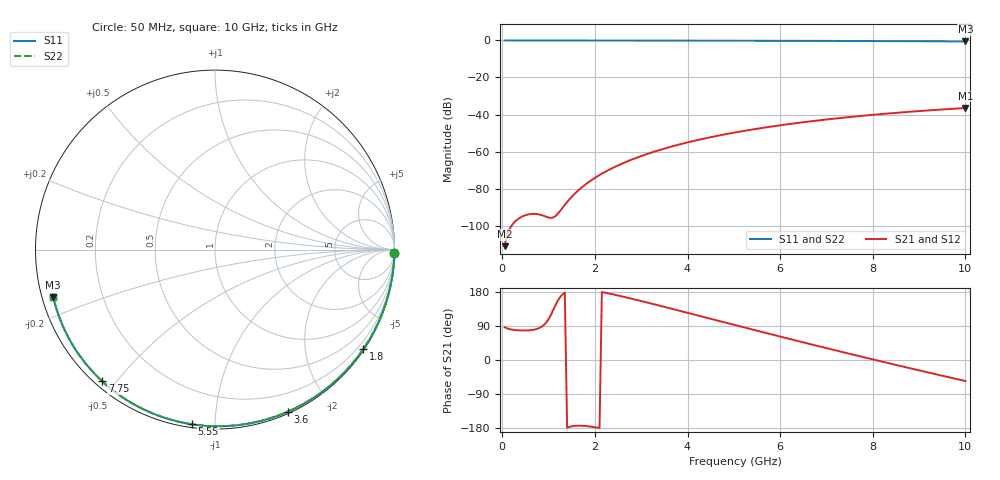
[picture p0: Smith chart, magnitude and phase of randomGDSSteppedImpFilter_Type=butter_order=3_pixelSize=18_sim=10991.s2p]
! freq	dB(S11)	phase(S11)	dB(S12)	phase(S12)
!  dB(S21)	phase(S21)	dB(S22)	phase(S22)
!S-par simulation data
#  GHz  S  DB  R 50
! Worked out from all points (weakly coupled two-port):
!   200 points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, 50 MHz to 10 GHz, reference 50 ohm
!   highest |S21| = -36.50 dB at 10 GHz (marker M1); lowest = -111.1 dB at 50 MHz (marker M2)
!   lowest |S11| = -0.5 dB at 10 GHz (marker M3), VSWR 32.10, Z = 1.59 - j7.21 ohm
!   |S11| at or under -10 dB: nowhere
!   |S22| runs from -0.5 to 0.0 dB; largest |S21 - S12| = 0
!   S11 on the Smith chart (normalised r, x): 50 MHz: open; 1.8 GHz: 0.03, -3.29; 3.6 GHz: 0.02, -1.55; 5.55 GHz: 0.02, -0.88; 7.75 GHz: 0.02, -0.46; 10 GHz: 0.03, -0.14
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0.05  -0.00 -1.0  -111.11 86.6  -111.11 86.6  -0.00 -1.0
0.45  -0.01 -8.6  -94.87 77.9  -94.87 77.9  -0.01 -8.6
0.85  -0.02 -16.2  -94.36 87.8  -94.36 87.8  -0.02 -16.2
1.65  -0.04 -31.1  -80.77 -173.3  -80.77 -173.3  -0.04 -31.1
1.7  -0.04 -32.0  -79.69 -173.4  -79.69 -173.4  -0.04 -32.0
1.75  -0.04 -32.9  -78.67 -173.7  -78.67 -173.7  -0.04 -32.9
1.8  -0.04 -33.9  -77.69 -174.2  -77.69 -174.2  -0.04 -33.9
2.1  -0.05 -39.3  -72.68 -179.6  -72.68 -179.6  -0.05 -39.3
2.3  -0.06 -42.9  -69.92 175.6  -69.92 175.6  -0.06 -42.9
2.5  -0.06 -46.5  -67.49 170.2  -67.49 170.2  -0.06 -46.5
2.9  -0.07 -53.6  -63.35 158.6  -63.35 158.6  -0.07 -53.6
3.4  -0.08 -62.3  -59.15 143.3  -59.15 143.3  -0.08 -62.3
3.6  -0.09 -65.8  -57.69 137.1  -57.69 137.1  -0.09 -65.8
4.3  -0.11 -77.5  -53.32 115.0  -53.32 115.0  -0.11 -77.5
5.05  -0.14 -89.6  -49.59 91.4  -49.59 91.4  -0.14 -89.6
5.55  -0.16 -97.5  -47.49 75.8  -47.49 75.8  -0.16 -97.5
6.1  -0.19 -106.0  -45.47 58.8  -45.47 58.8  -0.19 -106.0
6.7  -0.22 -115.0  -43.55 40.4  -43.55 40.4  -0.22 -115.0
7.75  -0.30 -130.5  -40.75 8.9  -40.75 8.9  -0.30 -130.5
8.35  -0.36 -139.3  -39.41 -8.6  -39.41 -8.6  -0.36 -139.3
9.2  -0.44 -151.7  -37.78 -33.0  -37.78 -33.0  -0.44 -151.7
10  -0.54 -163.6  -36.50 -55.5  -36.50 -55.5  -0.54 -163.6
